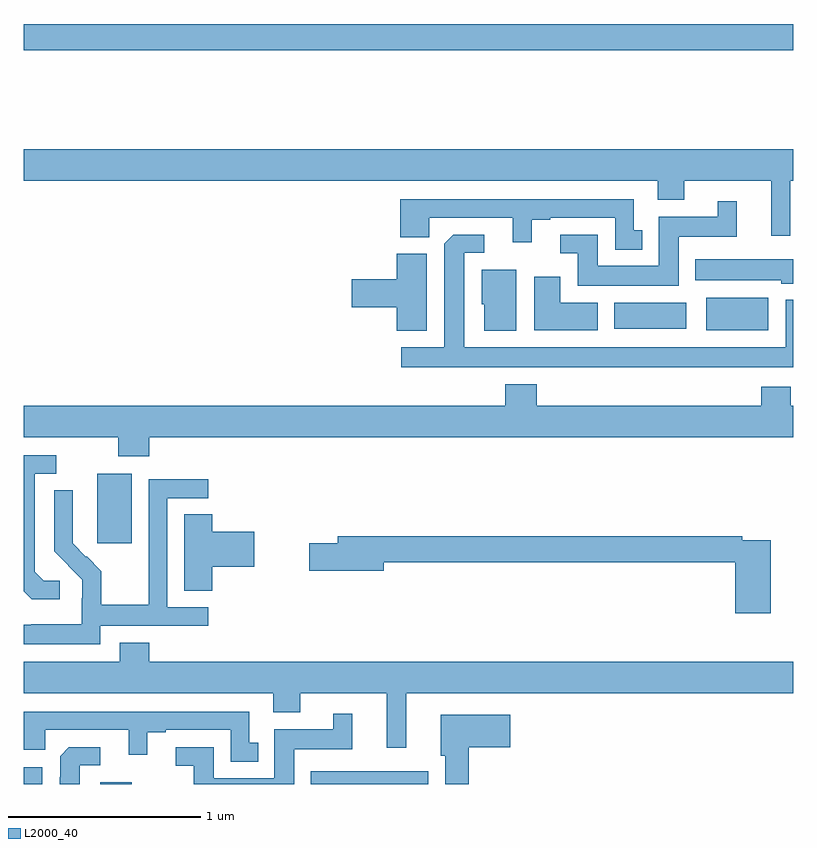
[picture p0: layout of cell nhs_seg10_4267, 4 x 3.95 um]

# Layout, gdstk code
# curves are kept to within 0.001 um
import gdstk
lib = gdstk.Library(unit=1e-6, precision=1e-09)
def R(c, l, rs):  # rectangles x0, y0, x1, y1
    for r in rs: c.add(gdstk.rectangle(r[:2], r[2:], *l))
def P(c, l, *ps):  # polygons
    for p in ps: c.add(gdstk.Polygon(p, *l))
L2000_40 = (2000, 40)

nhs_seg10_4267 = lib.new_cell('nhs_seg10_4267')
R(nhs_seg10_4267, L2000_40, [(349,1310.5,349.096,1310.587), (349.397,1310.5,349.561,1310.509), (350.492,1310.5,351.103,1310.566), (349.382,1311.753,349.561,1312.114), (352.547,1312.859,352.87,1313.029), (352.07,1312.868,352.444,1313.002), (349,1314.316,353,1314.452)])
P(nhs_seg10_4267, L2000_40, [(352.985,1313.636),(353,1313.636),(353,1313.8),(349,1313.8),(349,1313.636),(352.295,1313.636),(352.295,1313.537),(352.435,1313.537),(352.435,1313.636),(352.886,1313.636),(352.886,1313.352),(352.985,1313.352)],
  [(352.216,1313.379),(352.17,1313.379),(352.17,1313.541),(350.957,1313.541),(350.957,1313.342),(351.108,1313.342),(351.108,1313.445),(351.542,1313.445),(351.542,1313.316),(351.64,1313.316),(351.64,1313.433),(351.736,1313.433),(351.736,1313.445),(352.074,1313.445),(352.074,1313.279),(352.216,1313.279)],
  [(352.405,1313.345),(352.706,1313.345),(352.706,1313.53),(352.607,1313.53),(352.607,1313.449),(352.301,1313.449),(352.301,1313.194),(351.985,1313.194),(351.985,1313.355),(351.789,1313.355),(351.789,1313.259),(351.881,1313.259),(351.881,1313.09),(352.405,1313.09)],
  [(353,1313.017),(352.962,1313.017),(352.962,1312.771),(351.289,1312.771),(351.289,1313.262),(351.394,1313.262),(351.394,1313.355),(351.232,1313.355),(351.186,1313.309),(351.185,1312.771),(350.961,1312.771),(350.961,1312.667),(353,1312.667)],
  [(351.094,1313.257),(350.939,1313.257),(350.939,1313.126),(350.706,1313.126),(350.706,1312.979),(350.939,1312.979),(350.939,1312.856),(351.094,1312.856)],
  [(353,1313.23),(352.49,1313.23),(352.49,1313.12),(352.938,1313.12),(352.938,1313.102),(353,1313.102)],
  [(351.559,1313.173),(351.38,1313.173),(351.38,1312.995),(351.395,1312.995),(351.395,1312.856),(351.559,1312.856)],
  [(351.985,1313.002),(351.79,1313.002),(351.79,1313.137),(351.653,1313.137),(351.653,1312.859),(351.985,1312.859)],
  [(349.652,1312.304),(353,1312.304),(353,1312.468),(352.987,1312.468),(352.987,1312.567),(352.835,1312.567),(352.835,1312.468),(351.668,1312.468),(351.668,1312.579),(351.503,1312.579),(351.503,1312.468),(349,1312.468),(349,1312.304),(349.492,1312.304),(349.492,1312.205),(349.652,1312.205)],
  [(349.186,1311.558),(349.104,1311.558),(349.057,1311.605),(349.057,1312.113),(349.168,1312.113),(349.168,1312.209),(349,1312.209),(349,1311.503),(349.042,1311.461),(349.186,1311.461)],
  [(349.398,1311.324),(349.96,1311.324),(349.96,1311.42),(349.746,1311.42),(349.746,1311.987),(349.96,1311.987),(349.96,1312.086),(349.65,1312.086),(349.65,1311.656),(349.648,1311.656),(349.648,1311.433),(349.403,1311.433),(349.403,1311.607),(349.326,1311.684),(349.323,1311.681),(349.253,1311.752),(349.254,1312.028),(349.158,1312.028),(349.158,1311.71),(349.304,1311.562),(349.304,1311.465),(349.302,1311.465),(349.302,1311.331),(349.039,1311.331),(349.039,1311.327),(349,1311.327),(349,1311.227),(349.398,1311.227)],
  [(349.979,1311.629),(350.197,1311.629),(350.197,1311.812),(349.979,1311.812),(349.979,1311.902),(349.835,1311.902),(349.835,1311.505),(349.979,1311.505)],
  [(352.883,1311.768),(352.736,1311.768),(352.736,1311.788),(350.633,1311.788),(350.633,1311.752),(350.484,1311.752),(350.484,1311.61),(350.872,1311.61),(350.872,1311.652),(352.7,1311.652),(352.7,1311.387),(352.883,1311.387)],
  [(349.652,1311.235),(349.499,1311.235),(349.499,1311.136),(349,1311.136),(349,1310.972),(350.297,1310.972),(350.297,1310.873),(350.437,1310.873),(350.437,1310.972),(350.888,1310.972),(350.888,1310.688),(350.987,1310.688),(350.987,1310.972),(353,1310.972),(353,1311.136),(349.652,1311.136)],
  [(350.218,1310.715),(350.172,1310.715),(350.172,1310.877),(349,1310.877),(349,1310.678),(349.11,1310.678),(349.11,1310.781),(349.544,1310.781),(349.544,1310.652),(349.642,1310.652),(349.642,1310.769),(349.738,1310.769),(349.738,1310.781),(350.076,1310.781),(350.076,1310.615),(350.218,1310.615)],
  [(350.407,1310.681),(350.708,1310.681),(350.708,1310.866),(350.609,1310.866),(350.609,1310.785),(350.303,1310.785),(350.303,1310.53),(349.987,1310.53),(349.987,1310.691),(349.791,1310.691),(349.791,1310.595),(349.883,1310.595),(349.883,1310.5),(350.407,1310.5)],
  [(351.314,1310.69),(351.529,1310.69),(351.529,1310.86),(351.167,1310.86),(351.167,1310.646),(351.191,1310.646),(351.191,1310.5),(351.314,1310.5)],
  [(349.291,1310.598),(349.396,1310.598),(349.396,1310.691),(349.234,1310.691),(349.188,1310.645),(349.188,1310.534),(349.187,1310.534),(349.187,1310.5),(349.291,1310.5)])

lib.write_gds('nhs_seg10_4267.gds')
